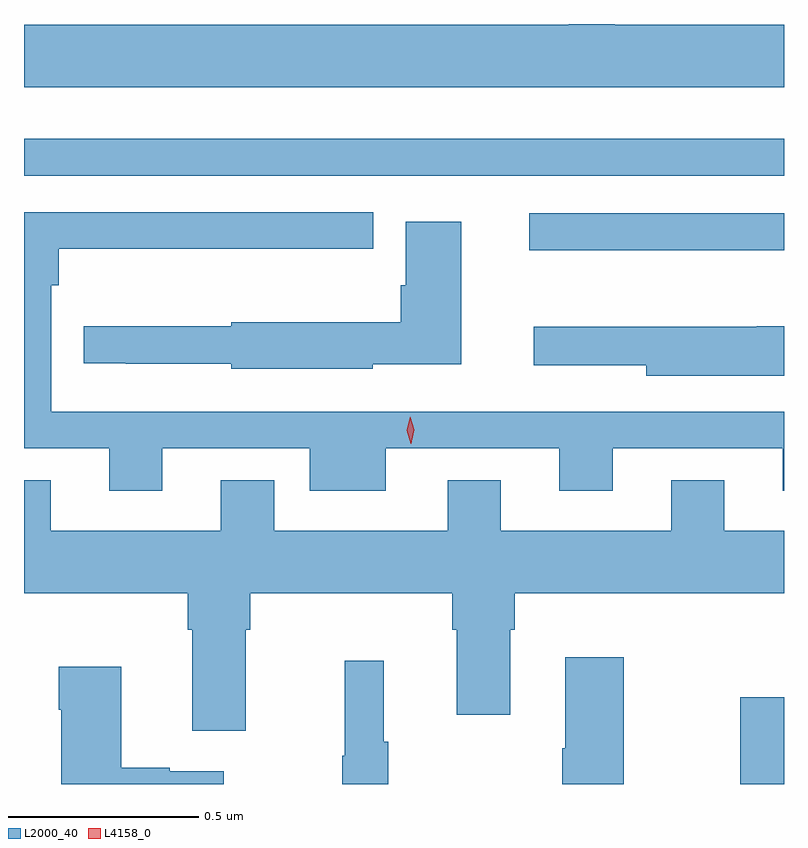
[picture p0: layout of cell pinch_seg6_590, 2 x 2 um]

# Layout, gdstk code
import gdstk
lib = gdstk.Library(unit=1e-6, precision=1e-09)
def R(c, l, rs):  # rectangles x0, y0, x1, y1
    for r in rs: c.add(gdstk.rectangle(r[:2], r[2:], *l))
def P(c, l, *ps):  # polygons
    for p in ps: c.add(gdstk.Polygon(p, *l))
L2000_40 = (2000, 40)
L4158_0 = (4158, 0)

pinch_seg6_590 = lib.new_cell('pinch_seg6_590')
R(pinch_seg6_590, L2000_40, [(590.929,968.146,591.044,968.374), (590.373,969.551,591.044,969.648), (589.044,969.747,591.044,969.844)])
P(pinch_seg6_590, L2000_40, [(591.044,970.144),(590.599,970.144),(590.599,970.146),(590.477,970.146),(590.477,970.144),(589.044,970.144),(589.044,969.98),(591.044,969.98)],
  [(589.408,969.03),(589.796,969.03),(589.796,968.918),(589.996,968.918),(589.996,969.03),(590.453,969.03),(590.453,968.918),(590.593,968.918),(590.593,969.03),(591.041,969.03),(591.041,968.918),(591.044,968.918),(591.044,969.126),(589.116,969.126),(589.116,969.458),(589.136,969.458),(589.136,969.554),(589.963,969.554),(589.963,969.651),(589.044,969.651),(589.044,969.03),(589.268,969.03),(589.268,968.918),(589.408,968.918)],
  [(589.962,969.251),(590.194,969.251),(590.194,969.625),(590.048,969.625),(590.048,969.458),(590.036,969.458),(590.036,969.361),(589.59,969.361),(589.59,969.35),(589.201,969.35),(589.201,969.253),(589.312,969.253),(589.312,969.252),(589.59,969.252),(589.59,969.239),(589.962,969.239)],
  [(591.044,969.35),(590.972,969.35),(590.972,969.349),(590.385,969.349),(590.385,969.248),(590.682,969.248),(590.682,969.221),(591.044,969.221)],
  [(589.627,968.552),(589.64,968.552),(589.64,968.648),(590.171,968.648),(590.171,968.552),(590.183,968.552),(590.183,968.328),(590.323,968.328),(590.323,968.552),(590.336,968.552),(590.336,968.648),(591.044,968.648),(591.044,968.812),(590.887,968.812),(590.887,968.945),(590.747,968.945),(590.747,968.812),(590.299,968.812),(590.299,968.945),(590.159,968.945),(590.159,968.812),(589.702,968.812),(589.702,968.945),(589.562,968.945),(589.562,968.812),(589.114,968.812),(589.114,968.945),(589.044,968.945),(589.044,968.648),(589.475,968.648),(589.475,968.552),(589.487,968.552),(589.487,968.286),(589.627,968.286)],
  [(590.622,968.479),(590.468,968.479),(590.468,968.24),(590.461,968.24),(590.461,968.146),(590.622,968.146)],
  [(590.002,968.257),(589.991,968.257),(589.991,968.47),(589.888,968.47),(589.888,968.22),(589.881,968.22),(589.881,968.146),(590.002,968.146)],
  [(589.57,968.179),(589.427,968.179),(589.427,968.189),(589.3,968.189),(589.3,968.455),(589.135,968.455),(589.135,968.342),(589.142,968.342),(589.142,968.146),(589.57,968.146)])
P(pinch_seg6_590, L4158_0, [(590.062,969.042),(590.062,969.042),(590.051,969.077),(590.06,969.113),(590.06,969.113),(590.06,969.113),(590.071,969.078),(590.063,969.042)])

lib.write_gds('pinch_seg6_590.gds')
